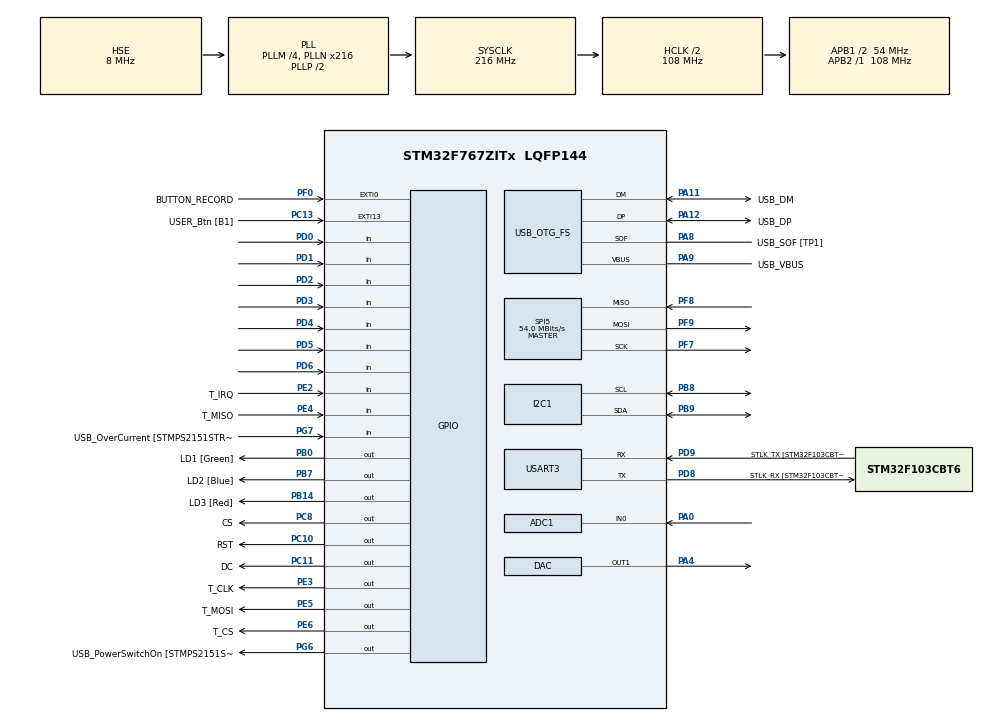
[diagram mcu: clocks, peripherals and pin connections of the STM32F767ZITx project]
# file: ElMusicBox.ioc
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ADC1.Channel-2\#ChannelRegularConversion=ADC_CHANNEL_0
ADC1.ClockPrescaler=ADC_CLOCK_SYNC_PCLK_DIV8
ADC1.ContinuousConvMode=ENABLE
ADC1.DMAContinuousRequests=ENABLE
ADC1.NbrOfConversionFlag=1
ADC1.Rank-2\#ChannelRegularConversion=1
ADC1.SamplingTime-2\#ChannelRegularConversion=ADC_SAMPLETIME_480CYCLES
ADC1.master=1
CORTEX_M7.ART_ACCELERATOR_ENABLE=1
CORTEX_M7.CPU_DCache=Enabled
CORTEX_M7.CPU_ICache=Enabled
CORTEX_M7.PREFETCH_ENABLE=1
DAC.DAC_Trigger=DAC_TRIGGER_NONE
Dma.ADC1.1.Direction=DMA_PERIPH_TO_MEMORY
Dma.ADC1.1.FIFOMode=DMA_FIFOMODE_DISABLE
Dma.ADC1.1.Instance=DMA2_Stream0
Dma.ADC1.1.MemDataAlignment=DMA_MDATAALIGN_HALFWORD
Dma.ADC1.1.MemInc=DMA_MINC_ENABLE
Dma.ADC1.1.Mode=DMA_CIRCULAR
Dma.ADC1.1.PeriphDataAlignment=DMA_PDATAALIGN_HALFWORD
Dma.ADC1.1.PeriphInc=DMA_PINC_DISABLE
Dma.ADC1.1.Priority=DMA_PRIORITY_LOW
Dma.DAC1.0.Direction=DMA_MEMORY_TO_PERIPH
Dma.DAC1.0.FIFOMode=DMA_FIFOMODE_DISABLE
Dma.DAC1.0.Instance=DMA1_Stream5
Dma.DAC1.0.MemDataAlignment=DMA_MDATAALIGN_WORD
Dma.DAC1.0.MemInc=DMA_MINC_ENABLE
Dma.DAC1.0.Mode=DMA_CIRCULAR
Dma.DAC1.0.PeriphDataAlignment=DMA_PDATAALIGN_WORD
Dma.DAC1.0.PeriphInc=DMA_PINC_DISABLE
Dma.DAC1.0.Priority=DMA_PRIORITY_HIGH
Dma.Request0=DAC1
Dma.Request1=ADC1
I2C1.Timing=0x20404768
Mcu.Family=STM32F7
Mcu.Name=STM32F767ZITx
Mcu.Package=LQFP144
NVIC.ADC_IRQn=true\:2\:0\:true\:false\:true\:true\:true\:true
NVIC.DMA1_Stream5_IRQn=true\:0\:0\:false\:false\:true\:false\:true\:true
NVIC.DMA2_Stream0_IRQn=true\:0\:0\:false\:false\:true\:false\:true\:true
NVIC.EXTI0_IRQn=true\:1\:2\:true\:false\:true\:true\:true\:true
NVIC.PriorityGroup=NVIC_PRIORITYGROUP_2
NVIC.TIM1_UP_TIM10_IRQn=true\:1\:1\:true\:false\:true\:true\:true\:true
NVIC.TIM2_IRQn=true\:0\:1\:true\:false\:true\:true\:true\:true
NVIC.TIM6_DAC_IRQn=true\:1\:0\:true\:false\:true\:true\:true\:true
NVIC.TIM7_IRQn=true\:1\:1\:true\:false\:true\:true\:true\:true
PA0/WKUP.Signal=ADCx_IN0
PA10.GPIO_Label=USB_ID
PA10.Signal=USB_OTG_FS_ID
PA11.GPIO_Label=USB_DM
PA11.Mode=Device_Only
PA11.Signal=USB_OTG_FS_DM
PA12.GPIO_Label=USB_DP
PA12.Mode=Device_Only
PA12.Signal=USB_OTG_FS_DP
PA13.GPIO_Label=TMS
PA13.Mode=Serial_Wire
PA13.Signal=SYS_JTMS-SWDIO
PA14.GPIO_Label=TCK
PA14.Mode=Serial_Wire
PA14.Signal=SYS_JTCK-SWCLK
PA4.Signal=COMP_DAC1_group
PA8.GPIO_Label=USB_SOF [TP1]
PA8.Mode=Activate_SOF_FS
PA8.Signal=USB_OTG_FS_SOF
PA9.GPIO_Label=USB_VBUS
PA9.Mode=Activate_VBUS
PA9.Signal=USB_OTG_FS_VBUS
PB0.GPIO_Label=LD1 [Green]
PB0.Signal=GPIO_Output
PB14.GPIO_Label=LD3 [Red]
PB14.Signal=GPIO_Output
PB3.GPIO_Label=SWO
PB3.Signal=SYS_JTDO-SWO
PB7.GPIO_Label=LD2 [Blue]
PB7.Signal=GPIO_Output
PB8.Mode=I2C
PB8.Signal=I2C1_SCL
PB9.Mode=I2C
PB9.Signal=I2C1_SDA
PC10.GPIO_Label=RST
PC10.GPIO_Speed=GPIO_SPEED_FREQ_VERY_HIGH
PC10.Signal=GPIO_Output
PC11.GPIO_Label=DC
PC11.GPIO_Speed=GPIO_SPEED_FREQ_VERY_HIGH
PC11.Signal=GPIO_Output
PC13.GPIO_Label=USER_Btn [B1]
PC13.Signal=GPXTI13
PC14/OSC32_IN.Mode=LSE-External-Oscillator
PC14/OSC32_IN.Signal=RCC_OSC32_IN
PC15/OSC32_OUT.Mode=LSE-External-Oscillator
PC15/OSC32_OUT.Signal=RCC_OSC32_OUT
PC8.GPIO_Label=CS
PC8.GPIO_Speed=GPIO_SPEED_FREQ_VERY_HIGH
PC8.Signal=GPIO_Output
PD0.GPIO_PuPd=GPIO_PULLUP
PD0.Signal=GPIO_Input
PD1.GPIO_PuPd=GPIO_PULLUP
PD1.Signal=GPIO_Input
PD2.GPIO_PuPd=GPIO_PULLUP
PD2.Signal=GPIO_Input
PD3.GPIO_PuPd=GPIO_PULLUP
PD3.Signal=GPIO_Input
PD4.GPIO_PuPd=GPIO_PULLUP
PD4.Signal=GPIO_Input
PD5.GPIO_PuPd=GPIO_PULLUP
PD5.Signal=GPIO_Input
PD6.GPIO_PuPd=GPIO_PULLUP
PD6.Signal=GPIO_Input
PD8.GPIO_Label=STLK_RX [STM32F103CBT6_PA3]
PD8.Mode=Asynchronous
PD8.Signal=USART3_TX
PD9.GPIO_Label=STLK_TX [STM32F103CBT6_PA2]
PD9.Mode=Asynchronous
PD9.Signal=USART3_RX
PE2.GPIO_Label=T_IRQ
PE2.Signal=GPIO_Input
PE3.GPIO_Label=T_CLK
PE3.GPIO_Speed=GPIO_SPEED_FREQ_VERY_HIGH
PE3.Signal=GPIO_Output
PE4.GPIO_Label=T_MISO
PE4.Signal=GPIO_Input
PE5.GPIO_Label=T_MOSI
PE5.GPIO_Speed=GPIO_SPEED_FREQ_VERY_HIGH
PE5.Signal=GPIO_Output
PE6.GPIO_Label=T_CS
PE6.Signal=GPIO_Output
PF0.GPIO_Label=BUTTON_RECORD
PF0.GPIO_PuPd=GPIO_PULLUP
PF0.Signal=GPXTI0
PF7.Mode=Full_Duplex_Master
PF7.Signal=SPI5_SCK
PF8.Mode=Full_Duplex_Master
PF8.Signal=SPI5_MISO
PF9.Mode=Full_Duplex_Master
PF9.Signal=SPI5_MOSI
PG6.GPIO_Label=USB_PowerSwitchOn [STMPS2151STR_EN]
PG6.Signal=GPIO_Output
PG7.GPIO_Label=USB_OverCurrent [STMPS2151STR_FAULT]
PG7.Signal=GPIO_Input
PH0/OSC_IN.GPIO_Label=MCO [STM32F103CBT6_PA8]
PH0/OSC_IN.Mode=HSE-External-Clock-Source
PH0/OSC_IN.Signal=RCC_OSC_IN
PH1/OSC_OUT.Mode=HSE-External-Clock-Source
PH1/OSC_OUT.Signal=RCC_OSC_OUT
ProjectManager.HeapSize=0x200
ProjectManager.StackSize=0x400
ProjectManager.TargetToolchain=STM32CubeIDE
RCC.48MHZClocksFreq_Value=24000000
RCC.AHBCLKDivider=RCC_SYSCLK_DIV2
RCC.AHBFreq_Value=108000000
RCC.APB1CLKDivider=RCC_HCLK_DIV2
RCC.APB1Freq_Value=54000000
RCC.APB1TimFreq_Value=108000000
RCC.APB2Freq_Value=108000000
RCC.APB2TimFreq_Value=108000000
RCC.CortexFreq_Value=108000000
RCC.HCLKFreq_Value=108000000
RCC.HSE_VALUE=8000000
RCC.HSI_VALUE=16000000
RCC.PLLI2SN=123
RCC.PLLM=4
RCC.PLLMUL=RCC_PLL_MUL9
RCC.PLLN=216
RCC.PLLQ=9
RCC.PRESCALERUSB=RCC_USBCLKSOURCE_PLL_DIV1_5
RCC.SYSCLKFreq_VALUE=216000000
RCC.SYSCLKSource=RCC_SYSCLKSOURCE_PLLCLK
RCC.SYSCLKSourceVirtual=RCC_SYSCLKSOURCE_PLLCLK
RCC.USBFreq_Value=48000000
RCC.VCOOutputFreq_Value=432000000
SH.ADCx_IN0.0=ADC1_IN0,IN0
SH.COMP_DAC1_group.0=DAC_OUT1,DAC_OUT1
SPI5.CalculateBaudRate=54.0 MBits/s
SPI5.DataSize=SPI_DATASIZE_8BIT
SPI5.Direction=SPI_DIRECTION_2LINES
SPI5.Mode=SPI_MODE_MASTER
SPI5.VirtualType=VM_MASTER
TIM1.Period=10800-1
TIM1.Prescaler=10-1
TIM2.Period=108-1
TIM2.Prescaler=100-1
TIM2.TIM_MasterOutputTrigger=TIM_TRGO_UPDATE
TIM6.Period=10800-1
TIM6.Prescaler=500-1
TIM7.Period=10800-1
TIM7.Prescaler=10000-1
USART3.VirtualMode-Asynchronous=VM_ASYNC
USB_OTG_FS.VirtualMode=Device_Only
VP_RNG_VS_RNG.Mode=RNG_Activate
VP_TIM1_VS_ClockSourceINT.Mode=Internal
VP_TIM2_VS_ClockSourceINT.Mode=Internal
VP_TIM6_VS_ClockSourceINT.Mode=Enable_Timer
VP_TIM7_VS_ClockSourceINT.Mode=Enable_Timer
board=NUCLEO-F767ZI

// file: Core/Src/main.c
/* USER CODE BEGIN Header */
/**
  ******************************************************************************
  * @file           : main.c
  * @brief          : Main program body
  ******************************************************************************
  * @attention
  *
  * Copyright (c) 2022 STMicroelectronics.
  * All rights reserved.
  *
  * This software is licensed under terms that can be found in the LICENSE file
  * in the root directory of this software component.
  * If no LICENSE file comes with this software, it is provided AS-IS.
  *
  ******************************************************************************
  */
/* USER CODE END Header */
#include "main.h"
#include "adc.h"
#include "dac.h"
#include "dma.h"
#include "i2c.h"
#include "rng.h"
#include "spi.h"
#include "tim.h"
#include "usart.h"
#include "usb_otg.h"
#include "gpio.h"

/* USER CODE BEGIN Includes */

#include <stdio.h>
#include <stdarg.h>
#include <stdbool.h>

#include "ILI9341_STM32_Driver.h"
#include "ILI9341_GFX.h"
#include "ILI9341_Touchscreen.h"

#include "Storage.h"
#include "MusicPlayer.h"

/* USER CODE END Includes */

/* USER CODE BEGIN PV */

static char g_strBuf[256];

static const int UART_PrintF(const char* fmt, ...) {
	va_list args;
	va_start(args, fmt);
	int len = vsnprintf(g_strBuf, sizeof(g_strBuf), fmt, args);
	va_end(args);

	HAL_UART_Transmit(&huart3, (uint8_t*)g_strBuf, len, -1);
	return len;
}

/* USER CODE END PV */

void SystemClock_Config(void);

/* USER CODE BEGIN 0 */

static uint32_t g_cooldownRecord = 1000;
static uint32_t g_cooldownLCD = 1000;

//LCD

#define MAX_SONG_LEN_SEC	(uint32_t)(10 * 60)		//10 min = 12 ksamples = 12kiB

int bCountEnable = false;
uint32_t count_1;
uint32_t sec;
uint32_t min;

void DisplayTimeEx(uint32_t sec, uint16_t x, uint16_t y) {
	if (sec < MAX_SONG_LEN_SEC) {
		sprintf(g_strBuf, "%01d.%02d", sec / 60, sec % 60);
	}
	else {
		strcpy(g_strBuf, "9.59");
	}
	ILI9341_Draw_Text(g_strBuf, x, y, WHITE,2, BLACK);
}
void SetScreen(void){
	 //Screen Setting
	 ILI9341_Set_Rotation(SCREEN_HORIZONTAL_1);
	 ILI9341_Fill_Screen(BLACK);

	//TOPIC
	 ILI9341_Draw_Text("D",90 ,15, RED,2, BLACK);
	 ILI9341_Draw_Text("N",105 ,15, YELLOW,2, BLACK);
	 ILI9341_Draw_Text("K",120 ,15, BLUE,2, BLACK);
	 ILI9341_Draw_Text("MUSIC BOX",140 ,15, WHITE,2, BLACK);

	 g_cooldownLCD = 500;
}

typedef struct {
	int Length; //(sec)
	bool empty;
} SlotMusic;

void SlotMusic_New(SlotMusic* slot, int length) {	//FOR DEBUGGING ONLY
	slot->Length = length;
	slot->empty = false;
}
void SlotMusic_NewEmpty(SlotMusic* slot) {
	slot->Length = 0;
	slot->empty = true;
}

static SlotMusic s[10];
static int CalculateLength(uint32_t size) {
	return (size - 4) / TIMERFREQ_LOADKEYS;
}
void SlotMusic_LoadFromStorage() {
	for (int i = 0; i < 10; ++i) {
		uint32_t addr = MusicPlayer_GetSongAddr(i);

		uint32_t size;
		StorageFlash_Read(addr, 4, &size);

		if (size == 0 || size == 0xffffffff) {
			s[i].Length = 0;
		}
		else {
			//(TotalSize - HeaderSize) / BytePerSecond
			s[i].Length = CalculateLength(size);
		}
		s[i].empty = s[i].Length == 0;
	}
}

//Music

static MusicPlayer musicPlayer;

static int ticks[4] = { 0, 0, 0, 0 };

void _My_TIM1_IRQHandler() {
	if (musicPlayer.bNeedNewBuf) {
		ticks[3]++;
		HAL_GPIO_TogglePin(LD1_GPIO_Port, LD1_Pin);
		//MusicPlayer_PopulateBuffer(&musicPlayer);
	}

	if (bCountEnable) {
		if(count_1 ==1000){
			sec++;
			count_1 = 0;
		}
		count_1++;
	}

	if (g_cooldownRecord > 0)
		--g_cooldownRecord;
	if (g_cooldownLCD > 0)
		--g_cooldownLCD;
}
void _My_TIM2_IRQHandler() {
	ticks[0]++;
	MusicPlayer_IT_SendPCMToDAC(&musicPlayer);
}
void _My_TIM6_IRQHandler() {
	ticks[1]++;
	MusicPlayer_IT_LoadKeys(&musicPlayer);
}
void _My_TIM7_IRQHandler() {
	ticks[2]++;
	MusicPlayer_IT_RecordData(&musicPlayer);

	//UART_PrintF("%d, %d, %d, %d\r\n", ticks[0], ticks[1], ticks[2], ticks[3]);
	memset(ticks, 0, sizeof(ticks));
}

//ADC

static uint32_t g_adcValue;
void HAL_ADC_ConvCpltCallback(ADC_HandleTypeDef* hadc) {
	//HAL_GPIO_TogglePin(LD2_GPIO_Port, LD2_Pin);

	MusicPlayer_SetVolumeRate(&musicPlayer, g_adcValue / (float)0xfff);
}

//EXTI

static bool bRecordBtnPressed = false;
void _My_EXTI0_IRQHandler() {
	if (g_cooldownRecord == 0) {
		HAL_GPIO_TogglePin(LD2_GPIO_Port, LD2_Pin);

		bRecordBtnPressed = true;

		g_cooldownRecord = 200;
	}
}

/* USER CODE END 0 */

int main(void)
{

  /* Enable I-Cache---------------------------------------------------------*/
  SCB_EnableICache();

  /* Enable D-Cache---------------------------------------------------------*/
  SCB_EnableDCache();

  /* MCU Configuration--------------------------------------------------------*/

  /* Reset of all peripherals, Initializes the Flash interface and the Systick. */
  HAL_Init();

  /* Configure the system clock */
  SystemClock_Config();

  /* Initialize all configured peripherals */
  MX_GPIO_Init();
  MX_USART3_UART_Init();
  MX_USB_OTG_FS_PCD_Init();
  MX_I2C1_Init();
  MX_TIM1_Init();
  MX_RNG_Init();
  MX_TIM2_Init();
  MX_DAC_Init();
  MX_DMA_Init();
  MX_TIM7_Init();
  MX_TIM6_Init();
  MX_ADC1_Init();
  MX_SPI5_Init();
  /* USER CODE BEGIN 2 */

	StorageFlash_Init();

	//LCD init
	ILI9341_Init();

	int posSelected = 1;
	int posCopy = 11;
	int isCopy = 0;
	int screen = 0;

	// screen 0 -> LIST PAGE
	// screen 1 -> PLAY PAGE

	bool bRecordMenu = false;

	/*
	SlotMusic_NewEmpty(&s[0]);
	SlotMusic_New(&s[1], 8);
	SlotMusic_New(&s[2], 210);
	for (int i = 3; i < 10; ++i) {
		SlotMusic_NewEmpty(&s[i]);
	}
	*/

	SlotMusic_LoadFromStorage();

	HAL_ADC_Start_DMA(&hadc1, &g_adcValue, 1);
	HAL_TIM_Base_Start_IT(TIMER_1000HZ);

	MusicPlayer_New(&musicPlayer);

	HAL_DAC_Start(&hdac, DAC_CHANNEL_1);

	/*
	MusicPlayer_SetIsRecording(&musicPlayer, true);
	musicPlayer.bEnableSave = false;

	MusicPlayer_Start(&musicPlayer, 1);
	*/

	/*
	//Music record test
	if (!true) {
		MusicPlayer_SetIsRecording(&musicPlayer, true);
		MusicPlayer_Start(&musicPlayer, 1);

		//HAL_Delay(5000);
		HAL_Delay(1000000);

		MusicPlayer_Stop(&musicPlayer);
		MusicPlayer_FlushRecording(&musicPlayer);
	}

	//Music playback test
	if (true) {
		MusicPlayer_SetIsRecording(&musicPlayer, false);
		MusicPlayer_Start(&musicPlayer, 0);

		while (MusicPlayer_IsPlayback(&musicPlayer))
			HAL_Delay(10);

		;
	}
	*/

	/*
	//FLASH write test
	{
		uint32_t testData[32];
		for (int i = 0; i < 10; ++i) {
			for (int j = 0; j < 32; ++j)
				testData[j] = HAL_RNG_GetRandomNumber(&hrng);
			StorageFlash_Write(MusicPlayer_GetSongAddr(i), sizeof(testData), (const uint32_t*)testData);
		}
	}
	*/

	SetScreen();
	HAL_Delay(1000);

  /* USER CODE END 2 */

  /* Infinite loop */
  while (1) {

    /* USER CODE BEGIN 3 */

	if (true) {
		uint16_t x_pos = 0;
		uint16_t y_pos = 0;
		uint16_t position_array[2];
		if (g_cooldownLCD == 0 && TP_Touchpad_Pressed()) {
			if (TP_Read_Coordinates(position_array) == TOUCHPAD_DATA_OK) {
				y_pos = 240 - position_array[0];
				x_pos = position_array[1];

				// Up
				if (x_pos >= 10 && x_pos <= 45 && y_pos >= 70 && y_pos <= 115 &&
						screen == 0) {
					if (posSelected > 0) {
						posSelected -= 1;
					}
				}

				// Down
				else if (x_pos >= 10 && x_pos <= 45 && y_pos >= 120 && y_pos <= 155 &&
						screen == 0) {
					if (posSelected < 9) {
						posSelected += 1;
					}
				}

				// PLAY(GO TO PLAY PAGE)
				else if (x_pos >= 30 && x_pos <= 90 && y_pos >= 200 && y_pos <= 230 &&
						!s[posSelected].empty && !isCopy && screen == 0) {
					screen = 1;
					sec = 0;
					__HAL_TIM_SET_COUNTER(&htim1, 0);
					SetScreen();
				}

				// COPY/PASTE
				else if (x_pos >= 100 && x_pos <= 160 && y_pos >= 200 &&
						y_pos <= 230 && screen == 0)
				{
					ILI9341_Draw_Rectangle(0, 200, 320, 40, BLACK);
					if (!isCopy) {
						//Copy
						posCopy = posSelected;
						isCopy = 1;
					}
					else {
						//Paste
						s[posSelected].Length = s[posCopy].Length;
						s[posSelected].empty = false;
						isCopy = 0;
						posCopy = 11;

						//Save pasted song into memory
						{
							uint32_t* buf = (uint32_t*)musicPlayer.tmpRecordBuffer;

							uint32_t addr = MusicPlayer_GetSongAddr(posCopy);
							StorageFlash_Read(addr, 4, buf);

							uint32_t size = buf[0];
							StorageFlash_Read(addr, size, buf);

							uint32_t addrTo = MusicPlayer_GetSongAddr(posSelected);
							StorageFlash_Write(addrTo, size, (const uint32_t*)buf);
						}
					}
				}

				// CANCEL COPY
				else if (x_pos >= 30 && x_pos <= 90 && y_pos >= 200 && y_pos <= 230 &&
						isCopy && screen == 0) {
					isCopy = 0;
					posCopy = 11;
				}

				// DELETE
				else if (x_pos >= 170 && x_pos <= 230 && y_pos >= 200 &&
						y_pos <= 230 && screen == 0) {
					s[posSelected].empty = true;
					g_cooldownLCD = 500;
				}

				/*
				// PLAY MUSIC
				else if (x_pos >= 30 && x_pos <= 70 && y_pos >= 110 && y_pos <= 150 &&
						isPlay == 0 && screen == 1) {
					isPlay = 1;
					g_cooldownLCD = 500;
				}

				// BACK TO PLAY PAGE
				else if (x_pos >= 240 && x_pos <= 300 && y_pos >= 200 &&
						y_pos <= 230 && screen == 0) {
					screen = 1;
					SetScreen();
				}

				// BACK TO LIST PAGE
				else if (x_pos >= 240 && x_pos <= 300 && y_pos >= 180 &&
						y_pos <= 210 && screen == 1) {
					screen = 0;
					SetScreen();
				}
				*/
			}
		}

		bRecordMenu = false;

		//To play menu, set recording to true
		if (bRecordBtnPressed && screen == 0) {
			screen = 1;
			bRecordMenu = true;
			sec = 0;
			__HAL_TIM_SET_COUNTER(&htim1, 0);
			SetScreen();
		}

		// PAGE LIST OF MUSIC
		if (screen == 0) {

			// UP/DOWN button
			ILI9341_Draw_Rectangle(10, 70, 35, 35, WHITE);
			ILI9341_Draw_Text_Rev("V", 20, 80, BLACK, 2, WHITE);
			ILI9341_Draw_Rectangle(10, 120, 35, 35, WHITE);
			ILI9341_Draw_Text("V", 20, 130, BLACK, 2, WHITE);

			const uint16_t TXT_Y = 208;
			if (!isCopy) {
				uint16_t color = s[posSelected].empty ? WHITE : RED;

				ILI9341_Draw_Rectangle(30, 200, 60, 30, color);
				ILI9341_Draw_Text("PLAY", 40, TXT_Y, BLACK, 2, color);

				ILI9341_Draw_Rectangle(100, 200, 60, 30, color);
				ILI9341_Draw_Text("COPY", 110, TXT_Y, BLACK, 2, color);

				ILI9341_Draw_Rectangle(170, 200, 60, 30, color);
				ILI9341_Draw_Text("ERASE", 180 - 10, TXT_Y, BLACK, 2, color);
			}
			else {
				ILI9341_Draw_Rectangle(30, 200, 60, 30, RED);
				ILI9341_Draw_Text("CANCL", 40 - 10, TXT_Y, BLACK, 2, RED);

				ILI9341_Draw_Rectangle(100, 200, 60, 30, RED);
				ILI9341_Draw_Text("PASTE", 110 - 10, TXT_Y, BLACK, 2, RED);
			}

			{
				int idx = posSelected < 5 ? 0 : 5;
				int sy = 50;
				for (int i = idx; i < idx + 5; i++) {
					uint16_t color = i == posSelected ? YELLOW
						: (i == posCopy ? GREEN : WHITE);
					ILI9341_Draw_Rectangle(60, sy, 230, 20, color);
					//ILI9341_Draw_Text(s[i].Name, 80, sy, BLACK, 2, color);
					if (s[i].empty)
						ILI9341_Draw_Text("Empty", 80, sy, BLACK, 2, color);
					else {
						g_strBuf[0] = '0' + i;
						g_strBuf[1] = '\0';
						ILI9341_Draw_Text(g_strBuf, 80, sy, BLACK, 2, color);
					}
					sy += 30;
				}
			}

			HAL_Delay(50);
		}

		// PLAY PAGE
		else if (screen == 1) {
			ILI9341_Fill_Screen(BLACK);

			// TITLE
			if (!bRecordMenu) {
				sprintf(g_strBuf, "Playing #%d...", posSelected);
			}
			else {
				sprintf(g_strBuf, "Recording #%d...", posSelected);
			}
			ILI9341_Draw_Text(g_strBuf, 64, 50, WHITE, 2, BLACK);

			ILI9341_Draw_Rectangle(30, 110, 40, 40, WHITE);
			if (!bRecordMenu) {
				// PLAY/PAUSE button
				//ILI9341_Draw_Text("PLAY/", 35, 120, BLACK, 1, WHITE);
				//ILI9341_Draw_Text("PAUSE", 35, 130, BLACK, 1, WHITE);
				ILI9341_Draw_Text("PAUSE", 35, 125, BLACK, 1, WHITE);
			}
			else {
				//Stop recording circle sign
				ILI9341_Draw_Filled_Circle(30 + 20, 110 + 20, 16, RED);
			}

			/*
			// Music level range
			ILI9341_Draw_Rectangle(90, 110, 10, 20, WHITE);
			ILI9341_Draw_Rectangle(110, 110, 10, 20, WHITE);
			ILI9341_Draw_Rectangle(130, 110, 10, 20, WHITE);
			ILI9341_Draw_Rectangle(150, 110, 10, 20, WHITE);
			ILI9341_Draw_Rectangle(170, 110, 10, 20, WHITE);
			ILI9341_Draw_Rectangle(190, 110, 10, 20, WHITE);
			ILI9341_Draw_Rectangle(210, 110, 10, 20, WHITE);
			ILI9341_Draw_Rectangle(230, 110, 10, 20, WHITE);
			*/
			ILI9341_Draw_Hollow_Rectangle_Coord(90, 110, 240, 130, WHITE);

			int lenEnd = bRecordMenu ? MAX_SONG_LEN_SEC : s[posSelected].Length;

			//DisplayTimeEx(sec, 80, 140);
			DisplayTimeEx(lenEnd, 200, 140);

			// BACK
			ILI9341_Draw_Rectangle(240, 200, 60, 30, RED);
			ILI9341_Draw_Text("BACK", 245, 210, BLACK, 2, RED);

			{
				MusicPlayer_SetIsRecording(&musicPlayer, bRecordMenu);
				MusicPlayer_Start(&musicPlayer, posSelected);
			}
			bRecordBtnPressed = false;

			//if (isPlay == 1) {
			{
				// start timer

				bCountEnable = true;

				bool bPlaying = true;

				while (1) {
					DisplayTimeEx(sec, bRecordMenu ? 200 : 80, 140);

					float rate = sec / ((float)lenEnd - 1);
					if (rate > 1) rate = 1;
					ILI9341_Draw_Rectangle(90, 110, (240 - 90) * rate, 20, WHITE);

					if (!bRecordMenu) {
						// END
						if (sec >= lenEnd || musicPlayer.playerState == MPLAYER_STOPPED) {
							MusicPlayer_Stop(&musicPlayer);
							ILI9341_Draw_Rectangle(230, 110, 10, 20, RED);

							ILI9341_Draw_Rectangle(30, 110, 40, 40, WHITE);
							ILI9341_Draw_Text("END", 35, 125, RED, 1, WHITE);

							HAL_Delay(1000);

							g_cooldownLCD = 200;
							goto lab_end_menu_1;
						}
					}
					else {
						if (bRecordBtnPressed || sec >= lenEnd) {
							//Save recording and go to song select

							posSelected = 0;
							g_cooldownLCD = 500;

							goto lab_end_menu_1;
						}
					}

					if (g_cooldownLCD == 0 && TP_Touchpad_Pressed()) {
						if (TP_Read_Coordinates(position_array) == TOUCHPAD_DATA_OK) {
							y_pos = 240 - position_array[0];
							x_pos = position_array[1];

							//ILI9341_Draw_Rectangle(x_pos, y_pos, 4, 4, WHITE);

							if (!bRecordMenu) {
								// PAUSE
								if (x_pos >= 30 && x_pos <= 70 && y_pos >= 110 &&
									y_pos <= 150)
								{
									ILI9341_Draw_Rectangle(30, 110, 40, 40, WHITE);
									if (bPlaying) {
										//Now pausing, change to "PLAY"
										ILI9341_Draw_Text("PLAY", 35, 125, BLACK, 1, WHITE);
										MusicPlayer_Pause(&musicPlayer);	//pause music
									}
									else {
										//Now playing, change to "PAUSE"
										ILI9341_Draw_Text("PAUSE", 35, 125, BLACK, 1, WHITE);
										MusicPlayer_Pause(&musicPlayer);	//unpause music
									}
									bPlaying = !bPlaying;
									bCountEnable = bPlaying;
									g_cooldownLCD = 500;
								}

								// BACK TO LIST PAGE
								else if (x_pos >= 240 && x_pos <= 300 && y_pos >= 180 &&
										y_pos <= 210)
								{
									g_cooldownLCD = 500;

									goto lab_end_menu_1;
								}
							}
							else {
								// Stop recording + back
								if (x_pos >= 240 && x_pos <= 300 && y_pos >= 180 &&
										y_pos <= 210)
								{
									g_cooldownLCD = 500;

									goto lab_end_menu_1;
								}
							}
						}
					}

					HAL_Delay(50);
					continue;

lab_end_menu_1:
					screen = 0;
					bCountEnable = false;

					MusicPlayer_Stop(&musicPlayer);
					if (bRecordMenu) {
						uint32_t size = MusicPlayer_FlushRecording(&musicPlayer);

						s[0].Length = CalculateLength(size);
						s[0].empty = false;
					}

					__HAL_TIM_SET_COUNTER(&htim1, 0);

					bRecordBtnPressed = false;
					break;
				}
				ILI9341_Fill_Screen(BLACK);
			}

			HAL_Delay(10);
		}
	}

  }
  /* USER CODE END 3 */
}

void SystemClock_Config(void)
{
  RCC_OscInitTypeDef RCC_OscInitStruct = {0};
  RCC_ClkInitTypeDef RCC_ClkInitStruct = {0};

  /** Configure LSE Drive Capability
  */
  HAL_PWR_EnableBkUpAccess();

  /** Configure the main internal regulator output voltage
  */
  __HAL_RCC_PWR_CLK_ENABLE();
  __HAL_PWR_VOLTAGESCALING_CONFIG(PWR_REGULATOR_VOLTAGE_SCALE3);

  /** Initializes the RCC Oscillators according to the specified parameters
  * in the RCC_OscInitTypeDef structure.
  */
  RCC_OscInitStruct.OscillatorType = RCC_OSCILLATORTYPE_HSE;
  RCC_OscInitStruct.HSEState = RCC_HSE_BYPASS;
  RCC_OscInitStruct.PLL.PLLState = RCC_PLL_ON;
  RCC_OscInitStruct.PLL.PLLSource = RCC_PLLSOURCE_HSE;
  RCC_OscInitStruct.PLL.PLLM = 4;
  RCC_OscInitStruct.PLL.PLLN = 216;
  RCC_OscInitStruct.PLL.PLLP = RCC_PLLP_DIV2;
  RCC_OscInitStruct.PLL.PLLQ = 9;
  RCC_OscInitStruct.PLL.PLLR = 2;
  if (HAL_RCC_OscConfig(&RCC_OscInitStruct) != HAL_OK)
  {
    Error_Handler();
  }

  /** Activate the Over-Drive mode
  */
  if (HAL_PWREx_EnableOverDrive() != HAL_OK)
  {
    Error_Handler();
  }

  /** Initializes the CPU, AHB and APB buses clocks
  */
  RCC_ClkInitStruct.ClockType = RCC_CLOCKTYPE_HCLK|RCC_CLOCKTYPE_SYSCLK
                              |RCC_CLOCKTYPE_PCLK1|RCC_CLOCKTYPE_PCLK2;
  RCC_ClkInitStruct.SYSCLKSource = RCC_SYSCLKSOURCE_PLLCLK;
  RCC_ClkInitStruct.AHBCLKDivider = RCC_SYSCLK_DIV2;
  RCC_ClkInitStruct.APB1CLKDivider = RCC_HCLK_DIV2;
  RCC_ClkInitStruct.APB2CLKDivider = RCC_HCLK_DIV1;

  if (HAL_RCC_ClockConfig(&RCC_ClkInitStruct, FLASH_LATENCY_3) != HAL_OK)
  {
    Error_Handler();
  }
}

void Error_Handler(void)
{
  __disable_irq();
  while (1)
  {
  }
}
